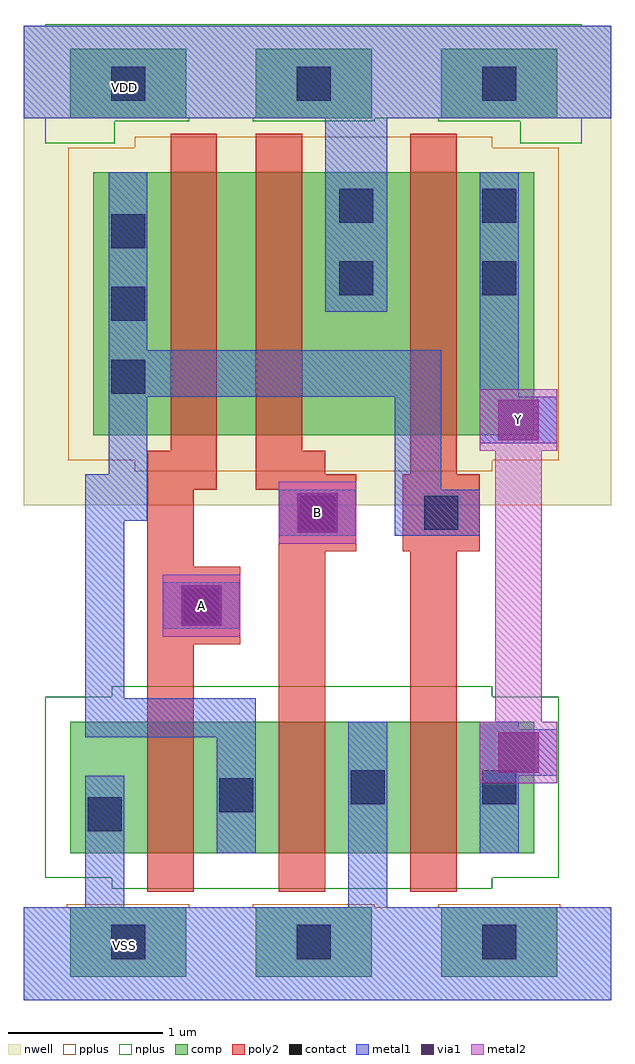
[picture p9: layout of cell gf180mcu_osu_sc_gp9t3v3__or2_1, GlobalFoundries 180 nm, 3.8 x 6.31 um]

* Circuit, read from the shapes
.subckt gf180mcu_osu_sc_gp9t3v3__or2_1 A B VDD VSS Y
XM1 n1 A VSS VSS nfet_03v3 w=0.85u l=0.3u
XM2 VSS B n1 VSS nfet_03v3 w=0.85u l=0.3u
XM3 Y n1 VSS VSS nfet_03v3 w=0.85u l=0.3u
XM4 n2 A n1 VDD pfet_03v3 w=1.7u l=0.3u
XM5 VDD B n2 VDD pfet_03v3 w=1.7u l=0.3u
XM6 Y n1 VDD VDD pfet_03v3 w=1.7u l=0.3u
.ends

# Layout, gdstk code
import gdstk
lib = gdstk.Library(unit=1e-6, precision=1e-09)
def R(c, l, rs):  # rectangles x0, y0, x1, y1
    for r in rs: c.add(gdstk.rectangle(r[:2], r[2:], *l))
def A(c, l, x, y, w, h, nx, ny, dx, dy):  # array of equal rectangles
    R(c, l, [(x+i*dx, y+j*dy, x+i*dx+w, y+j*dy+h) for i in range(nx) for j in range(ny)])
nwell = (21, 0)
comp = (22, 0)
poly2 = (30, 0)
pplus = (31, 0)
nplus = (32, 0)
contact = (33, 0)
metal1 = (34, 0)
via1 = (35, 0)
metal2 = (36, 0)

gf180mcu_osu_sc_gp9t3v3_ = lib.new_cell('gf180mcu_osu_sc_gp9t3v3__or2_1')
R(gf180mcu_osu_sc_gp9t3v3_, nwell, [(0,3.2,3.8,6.3)])
A(gf180mcu_osu_sc_gp9t3v3_, comp, 0.3, 0.15, 0.75, 0.45, 3, 2, 1.2, 5.55)
R(gf180mcu_osu_sc_gp9t3v3_, comp, [(0.3,0.95,3.3,1.8), (0.45,3.65,3.3,5.35)])
R(gf180mcu_osu_sc_gp9t3v3_, poly2, [(0.8,0.7,1.1,2.3), (1.65,0.7,1.95,2.9), (2.5,0.7,2.8,2.9), (0.8,2.3,1.4,2.8), (0.8,2.8,1.1,3.3), (1.65,2.9,2.15,3.3), (2.45,2.9,2.95,3.4), (0.8,3.3,1.25,3.55), (1.5,3.3,2.15,3.4), (1.5,3.4,1.95,3.55), (2.5,3.4,2.8,5.6), (0.95,3.55,1.25,5.6), (1.5,3.55,1.8,5.6)])
A(gf180mcu_osu_sc_gp9t3v3_, pplus, 0.28, 0.13, 0.79, 0.49, 3, 1, 1.2, 0)
R(gf180mcu_osu_sc_gp9t3v3_, pplus, [(0,0,3.8,0.6), (0.72,3.42,3.03,3.49), (0.29,3.49,3.46,5.51), (0.72,5.51,3.03,5.58)])
R(gf180mcu_osu_sc_gp9t3v3_, nplus, [(0.57,0.72,3.03,0.79), (0.14,0.79,3.46,1.96), (0.57,1.96,3.03,2.03), (0.14,5.54,0.59,5.68), (3.21,5.54,3.61,5.68), (0.14,5.68,1.07,5.7), (1.48,5.68,2.27,5.7), (2.68,5.68,3.61,5.7), (0,5.7,3.8,6.3), (0,5.7,3.8,6.3), (0.14,6.3,3.61,6.31)])
A(gf180mcu_osu_sc_gp9t3v3_, contact, 0.565, 0.265, 0.22, 0.22, 3, 2, 1.2, 5.55)
A(gf180mcu_osu_sc_gp9t3v3_, contact, 0.565, 3.92, 0.22, 0.22, 1, 3, 0, 0.47)
R(gf180mcu_osu_sc_gp9t3v3_, contact, [(0.415,1.09,0.635,1.31), (1.265,1.215,1.485,1.435), (2.115,1.265,2.335,1.485), (2.965,1.265,3.185,1.485), (1.04,2.44,1.26,2.66), (1.79,3.04,2.01,3.26), (2.59,3.04,2.81,3.26), (2.04,4.555,2.26,4.775), (2.965,4.555,3.185,4.775), (2.04,5.025,2.26,5.245), (2.965,5.025,3.185,5.245)])
R(gf180mcu_osu_sc_gp9t3v3_, metal1, [(0,0,3.8,0.6), (0.4,0.6,0.65,1.45), (2.1,0.6,2.35,1.8), (1.25,0.95,1.5,1.7), (2.95,0.95,3.2,1.45), (2.95,1.45,3.45,1.75), (0.4,1.7,1.5,1.95), (2.95,1.75,3.2,1.8), (0.4,1.95,0.65,3.1), (0.9,2.4,1.4,2.7), (1.65,3,2.15,3.3), (2.4,3,2.95,3.3), (0.4,3.1,0.8,3.4), (2.4,3.3,2.7,3.9), (0.55,3.4,0.8,3.9), (2.95,3.6,3.45,3.9), (0.55,3.9,2.7,4.2), (2.95,3.9,3.2,5.35), (0.55,4.2,0.8,5.35), (1.95,4.45,2.35,5.7), (0,5.7,3.8,6.3)])
R(gf180mcu_osu_sc_gp9t3v3_, via1, [(3.07,1.47,3.33,1.73), (1.02,2.42,1.28,2.68), (1.77,3.02,2.03,3.28), (3.07,3.62,3.33,3.88)])
R(gf180mcu_osu_sc_gp9t3v3_, metal2, [(2.95,1.4,3.45,1.8), (3.05,1.8,3.35,3.55), (0.9,2.35,1.4,2.75), (1.65,2.95,2.15,3.35), (2.95,3.55,3.45,3.95)])
gf180mcu_osu_sc_gp9t3v3_.add(gdstk.Label('VDD', (0.65,5.9), layer=22, texttype=0))
gf180mcu_osu_sc_gp9t3v3_.add(gdstk.Label('VSS', (0.65,0.35), layer=22, texttype=0))
gf180mcu_osu_sc_gp9t3v3_.add(gdstk.Label('A', (1.15,2.55), layer=36, texttype=10))
gf180mcu_osu_sc_gp9t3v3_.add(gdstk.Label('B', (1.9,3.15), layer=36, texttype=10))
gf180mcu_osu_sc_gp9t3v3_.add(gdstk.Label('Y', (3.2,3.75), layer=36, texttype=10))

lib.write_gds('gf180mcu_osu_sc_gp9t3v3__or2_1.gds')
